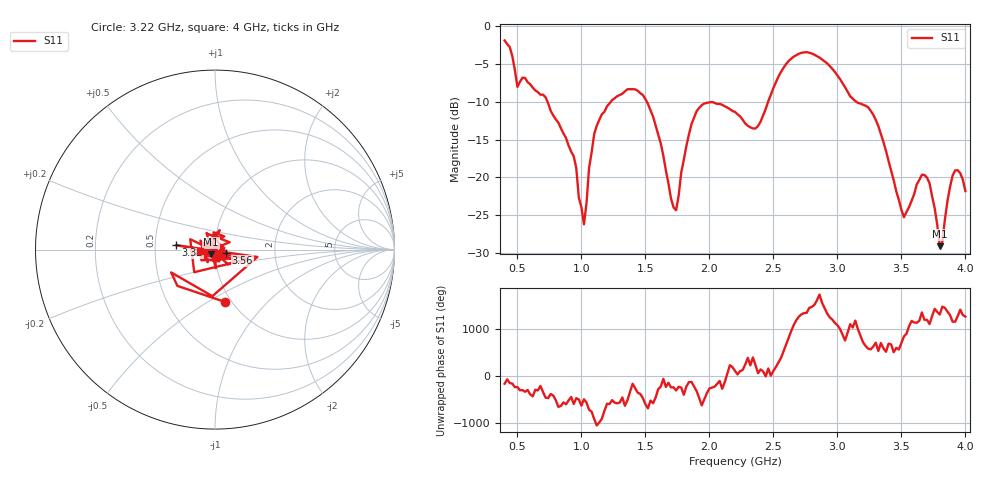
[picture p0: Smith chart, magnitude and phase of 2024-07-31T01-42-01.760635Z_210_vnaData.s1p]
!Created with skrf (http://scikit-rf.org).
# Hz S RI R 50.0
!freq ReS11 ImS11
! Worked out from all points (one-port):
!   181 points, 400 MHz to 4 GHz, reference 50 ohm
!   lowest |S11| = -29.1 dB at 3.8 GHz (marker M1), VSWR 1.07, Z = 47.7 - j2.58 ohm
!   |S11| at or under -10 dB: 735.1 MHz to 1.23 GHz (494.9 MHz wide, 50.4 % of centre); 1.511 GHz to 2.459 GHz (947.6 MHz wide, 47.7 % of centre); 3.148 GHz to end of sweep
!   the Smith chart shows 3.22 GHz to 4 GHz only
!   S11 on the Smith chart (normalised r, x): 3.22 GHz: 0.94, -0.60; 3.32 GHz: 0.64, +0.03; 3.56 GHz: 1.13, -0.04; 4 GHz: 0.85, -0.01
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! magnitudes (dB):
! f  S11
! 400 MHz  -1.9
! 460 MHz  -4.0
! 500 MHz  -8.0
! 700 MHz  -9.1
! 860 MHz  -14.2
! 940 MHz  -17.2
! 1.02 GHz  -26.2
! 1.1 GHz  -14.3
! 1.3 GHz  -9.1
! 1.5 GHz  -9.6
! 1.62 GHz  -15.5
! 1.72 GHz  -24.0
! 1.76 GHz  -22.4
! 1.82 GHz  -15.9
! 1.9 GHz  -11.3
! 2.2 GHz  -11.3
! 2.36 GHz  -13.5
! 2.66 GHz  -4.0
! 2.86 GHz  -4.2
! 3.1 GHz  -9.3
! 3.22 GHz  -10.5
! 3.32 GHz  -13.2
! 3.52 GHz  -25.3
! 3.56 GHz  -23.9
! 3.7 GHz  -20.0
! 3.8 GHz  -29.1
! 3.9 GHz  -19.8
! 4 GHz  -21.8
